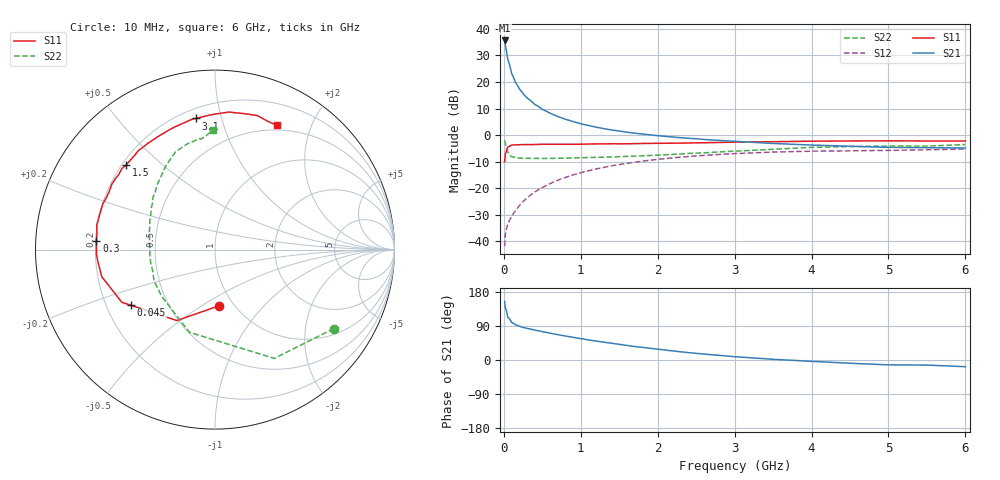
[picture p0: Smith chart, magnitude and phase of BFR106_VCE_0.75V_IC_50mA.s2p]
! Infineon Technologies  Discrete & RF Semiconductors
! BFR106
! VCE = 0.75 V,  IC =  50 mA
! Common Emitter S-Parameters:  Nov 2015
# GHz  S  MA  R  50
!  f  S11  S21  S12  S22
! GHz  MAG  ANG  MAG  ANG  MAG  ANG  MAG  ANG
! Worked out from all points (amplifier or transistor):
!   210 points, 10 MHz to 6 GHz, reference 50 ohm
!   highest |S21| = 35.6 dB at 10 MHz (marker M1)
!   |S21| within 3 dB of that: start of sweep to 27.69 MHz
!   unconditionally stable (mu >= 1): 179 MHz to end of sweep
!   at 185 MHz: K = 1.01, MAG = 22.2 dB, |S12| = -27.2 dB
!   at 1.52 GHz: K = 1.09, MAG = 4.4 dB, |S12| = -11.0 dB
!   at 6 GHz: K = 1.03, MAG = -0.9 dB, |S12| = -5.3 dB
!   S11 on the Smith chart (normalised r, x): 10 MHz: 0.85, -0.59; 45 MHz: 0.30, -0.28; 300 MHz: 0.20, +0.03; 1.5 GHz: 0.22, +0.38; 3.1 GHz: 0.26, +0.83; 6 GHz: 0.44, +1.53
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0.01  0.3145 -86.2  60.53 154.7  0.0081 71.3  0.7948 -33.6
0.02  0.4489 -118.3  49.03 137.3  0.0136 60.2  0.6903 -61.4
0.045  0.5616 -146.4  30.23 119.3  0.0199 52.5  0.4893 -97.4
0.05  0.5963 -150.5  27.12 112.9  0.0212 51.5  0.4824 -107.1
0.1  0.6491 -166.6  14.65 99.3  0.0291 56.0  0.395 -139.1
0.15  0.6553 -173.8  9.924 93.1  0.0376 60.8  0.3816 -153.0
0.2  0.6613 -177.8  7.515 89.0  0.0466 64.2  0.3671 -160.6
0.24  0.6609 179.4  6.3 86.6  0.0541 65.5  0.3659 -165.3
0.26  0.6612 178.2  5.805 85.4  0.0578 66.2  0.3657 -167.2
0.3  0.662 176.0  5.032 83.4  0.0651 67.7  0.3652 -169.8
0.4  0.6648 171.5  3.815 78.9  0.0842 68.2  0.3642 -175.3
0.5  0.673 168.4  3.075 74.8  0.1029 68.3  0.3635 -179.5
0.6  0.6717 164.4  2.587 70.6  0.1223 67.3  0.3634 177.7
0.8  0.6752 157.8  1.991 63.2  0.1593 64.6  0.3691 172.2
1.02  0.6744 150.2  1.608 55.7  0.1995 61.0  0.374 167.4
1.22  0.6809 144.1  1.391 49.2  0.2337 57.5  0.3812 163.1
1.5  0.684 136.4  1.198 41.2  0.2794 52.2  0.3925 157.7
2.02  0.7002 122.6  0.969 28.1  0.3517 42.2  0.423 147.4
3.1  0.7385 98.4  0.748 7.4  0.4539 23.2  0.5054 126.7
4.1  0.7704 83.0  0.642 -4.6  0.499 8.6  0.5911 110.5
5.1  0.7806 71.6  0.586 -12.9  0.517 -2.3  0.6234 97.6
6  0.7734 63.4  0.571 -17.7  0.546 -10.4  0.6647 90.8
